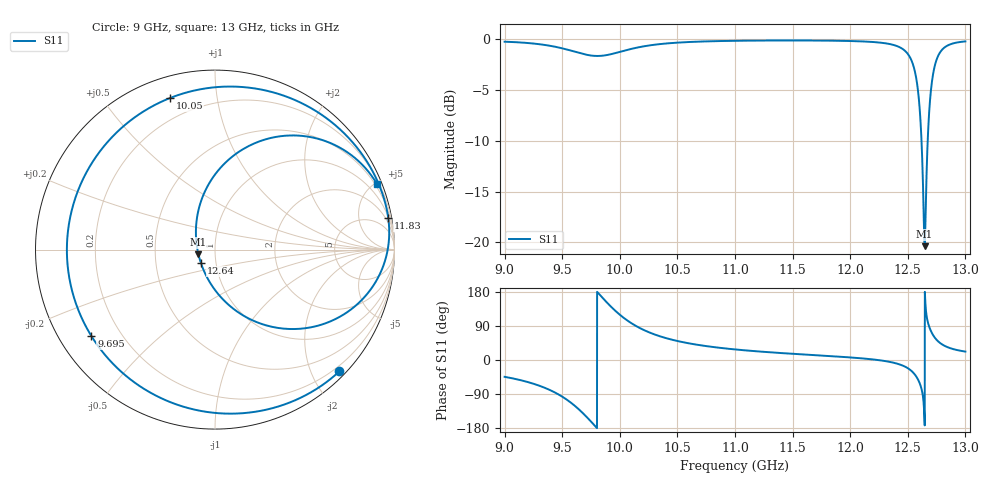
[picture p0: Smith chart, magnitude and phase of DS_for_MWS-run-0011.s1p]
! TOUCHSTONE file generated by CST DESIGN STUDIO
! Date and time: Tue Feb  4 16:38:50 2025
! Project name: C:\Work\MatlabApps\UnitCellOptimizationMatlab\CST\unitcell.cst
! Tree item: Tasks\Sweep1\SPara1\S-Parameters
! Header version: 2024
! Port assignment regex: !\s*Touchstone port\s*([0-9]+)\s*=\s*(CST MWS port|CST DES external port|CST DES block port)\s*(.+)\s* \(\"(.*)\"\)(\s*mode\s*([0-9]+))?.*
! Touchstone port assignment:
! Touchstone port 1 = CST DES external port 1 ("")
# GHz S MA R 50
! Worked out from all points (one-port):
!   4001 points, 9 GHz to 13 GHz, reference 50 ohm
!   lowest |S11| = -20.4 dB at 12.65 GHz (marker M1), VSWR 1.21, Z = 41.5 - j2.1 ohm
!   |S11| at or under -10 dB: 12.6191 GHz to 12.67275 GHz (53.65 MHz wide, 0.424 % of centre)
!   S11 on the Smith chart (normalised r, x): 9 GHz: 0.11, -2.45; 9.695 GHz: 0.10, -0.31; 10.05 GHz: 0.10, +0.74; 11.83 GHz: 1, +11; 12.64 GHz: 0.85, -0.13; 13 GHz: 0.37, +5.07
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9  0.9697 -44.4
9.275  0.9466 -65.1
9.5  0.8997 -96.7
9.601  0.8686 -118.8
9.695  0.8405 -145.0
9.768  0.8271 -168.4
9.836  0.8264 168.7
10  0.8641 119.5
10.055  0.881 106.5
10.263  0.9309 71.9
10.5  0.9595 50.1
11  0.9797 27.9
11.5  0.9835 16.4
11.83  0.9811 10.2
12  0.9773 6.8
12.353  0.9419 -5.6
12.5  0.8447 -21.6
12.547  0.7436 -33.3
12.588  0.5605 -51.2
12.615  0.3542 -71.7
12.642  0.1085 -136.3
12.646  0.0959 -164.8
12.659  0.177 126.2
12.691  0.4839 83.5
12.732  0.7293 60.0
12.776  0.8522 45.9
12.829  0.9173 36.0
13  0.9731 22.2
